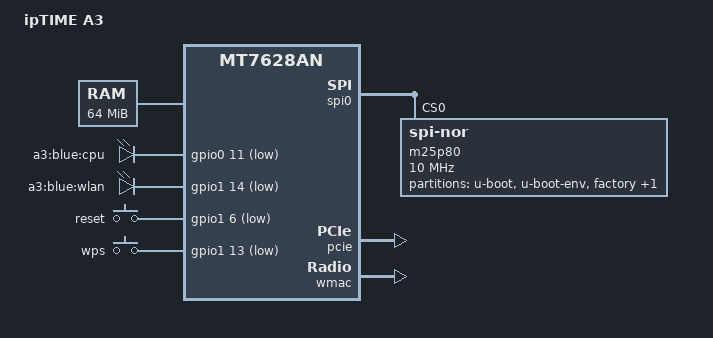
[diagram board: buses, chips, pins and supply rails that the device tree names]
/dts-v1/;

#include "mt7628an.dtsi"

#include <dt-bindings/gpio/gpio.h>
#include <dt-bindings/input/input.h>

/ {
	compatible = "iptime,a3", "mediatek,mt7628an-soc";
	model = "ipTIME A3";

	memory@0 {
		device_type = "memory";
		reg = <0x0 0x4000000>;
	};

	gpio-leds {
		compatible = "gpio-leds";

		cpu {
			label = "a3:blue:cpu";
			gpios = <&gpio0 11 GPIO_ACTIVE_LOW>;
		};

		wlan {
			label = "a3:blue:wlan";
			gpios = <&gpio1 14 GPIO_ACTIVE_LOW>;
		};
	};

	gpio-keys-polled {
		compatible = "gpio-keys-polled";
		#address-cells = <1>;
		#size-cells = <0>;
		poll-interval = <20>;

		reset {
			label = "reset";
			gpios = <&gpio1 6 GPIO_ACTIVE_LOW>;
			linux,code = <KEY_RESTART>;
		};

		wps {
			label = "wps";
			gpios = <&gpio1 13 GPIO_ACTIVE_LOW>;
			linux,code = <KEY_WPS_BUTTON>;
		};
	};
};

&spi0 {
	status = "okay";

	m25p80@0 {
		#address-cells = <1>;
		#size-cells = <1>;
		compatible = "jedec,spi-nor";
		reg = <0>;
		spi-max-frequency = <10000000>;
		m25p,chunked-io = <32>;

		partition@0 {
			label = "u-boot";
			reg = <0x0 0x20000>;
			read-only;
		};

		partition@20000 {
			label = "u-boot-env";
			reg = <0x20000 0x10000>;
			read-only;
		};

		factory: partition@30000 {
			label = "factory";
			reg = <0x30000 0x10000>;
			read-only;
		};

		partition@40000 {
			label = "firmware";
			reg = <0x40000 0x7c0000>;
		};
	};
};

&pinctrl {
	state_default: pinctrl0 {
		gpio {
			ralink,group = "uart1", "wdt";
			ralink,function = "gpio";
		};
	};
};

&ehci {
	status = "disabled";
};

&ohci {
	status = "disabled";
};

&ethernet {
	mtd-mac-address = <&factory 0x4>;
};

&esw {
	mediatek,portmap = <0x3e>;
	mediatek,portdisable = <0x32>;
};

&pcie {
	status = "okay";

	pcie-bridge {
		mt76@1,0 {
			reg = <0x0000 0 0 0 0>;
			device_type = "pci";
			mediatek,mtd-eeprom = <&factory 0x8000>;
			ieee80211-freq-limit = <5000000 6000000>;
		};
	};
};

&wmac {
	status = "okay";
};
